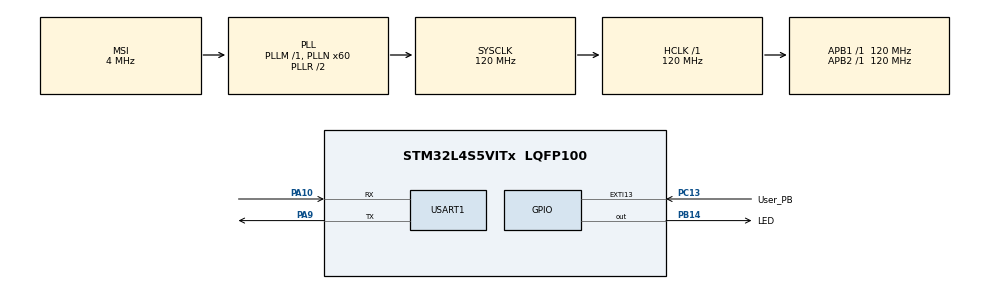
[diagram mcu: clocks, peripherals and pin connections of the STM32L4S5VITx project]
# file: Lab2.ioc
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ADC1.Channel-2\#ChannelRegularConversion=ADC_CHANNEL_VREFINT
ADC1.EnableInjectedConversion=ENABLE
ADC1.InjMonitoredBy-3\#ChannelInjectedConversion=__NULL
ADC1.InjNumberOfConversion=1
ADC1.InjectedChannel-3\#ChannelInjectedConversion=ADC_CHANNEL_TEMPSENSOR
ADC1.InjectedOffsetNumber-3\#ChannelInjectedConversion=ADC_OFFSET_NONE
ADC1.InjectedRank-3\#ChannelInjectedConversion=1
ADC1.InjectedSamplingTime-3\#ChannelInjectedConversion=ADC_SAMPLETIME_247CYCLES_5
ADC1.NbrOfConversionFlag=1
ADC1.OffsetNumber-2\#ChannelRegularConversion=ADC_OFFSET_NONE
ADC1.Rank-2\#ChannelRegularConversion=1
ADC1.Rank1_Channel=ADC_CHANNEL_TEMPSENSOR
ADC1.SamplingTime-2\#ChannelRegularConversion=ADC_SAMPLETIME_247CYCLES_5
ADC1.master=1
Mcu.Family=STM32L4
Mcu.Name=STM32L4S5VITx
Mcu.Package=LQFP100
NVIC.EXTI15_10_IRQn=true\:0\:0\:false\:false\:true\:true\:true\:true
NVIC.PriorityGroup=NVIC_PRIORITYGROUP_4
PA10.Mode=Asynchronous
PA10.Signal=USART1_RX
PA9.Mode=Asynchronous
PA9.Signal=USART1_TX
PB14.GPIO_Label=LED
PB14.Signal=GPIO_Output
PC0.Signal=ADCx_IN1
PC13.GPIO_Label=User_PB
PC13.Signal=GPXTI13
ProjectManager.HeapSize=0x200
ProjectManager.StackSize=0x400
ProjectManager.TargetToolchain=STM32CubeIDE
RCC.ADCFreq_Value=48000000
RCC.AHBFreq_Value=120000000
RCC.APB1Freq_Value=120000000
RCC.APB1TimFreq_Value=120000000
RCC.APB2Freq_Value=120000000
RCC.APB2TimFreq_Value=120000000
RCC.CortexFreq_Value=120000000
RCC.HCLKFreq_Value=120000000
RCC.HSE_VALUE=8000000
RCC.HSI48_VALUE=48000000
RCC.HSI_VALUE=16000000
RCC.LSE_VALUE=32768
RCC.MSI_VALUE=4000000
RCC.PLLN=60
RCC.PLLSAI1N=24
RCC.SYSCLKFreq_VALUE=120000000
RCC.SYSCLKSource=RCC_SYSCLKSOURCE_PLLCLK
RCC.USBFreq_Value=48000000
RCC.VCOOutputFreq_Value=240000000
SH.ADCx_IN1.0=ADC1_IN1
USART1.VirtualMode-Asynchronous=VM_ASYNC
VP_ADC1_TempSens_Input.Mode=IN-TempSens
VP_ADC1_Vref_Input.Mode=IN-Vrefint
board=B-L4S5I-IOT01A

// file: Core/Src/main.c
/* USER CODE BEGIN Header */
/**
  ******************************************************************************
  * @file           : main.c
  * @brief          : Main program body
  ******************************************************************************
  * @attention
  *
  * Copyright (c) 2025 STMicroelectronics.
  * All rights reserved.
  *
  * This software is licensed under terms that can be found in the LICENSE file
  * in the root directory of this software component.
  * If no LICENSE file comes with this software, it is provided AS-IS.
  *
  ******************************************************************************
  */
/* USER CODE END Header */
#include "main.h"

/* USER CODE BEGIN Includes */
#include <stdio.h>
#include "core_cm4.h"
#include "measurement.h"

/* USER CODE END Includes */

ADC_HandleTypeDef hadc1;

UART_HandleTypeDef huart1;

/* USER CODE BEGIN PV */
volatile uint8_t state;
/* USER CODE END PV */

void SystemClock_Config(void);
static void MX_GPIO_Init(void);
static void MX_ADC1_Init(void);
static void MX_USART1_UART_Init(void);

int main(void)
{

  /* MCU Configuration--------------------------------------------------------*/

  /* Reset of all peripherals, Initializes the Flash interface and the Systick. */
  HAL_Init();

  /* Configure the system clock */
  SystemClock_Config();

  /* Initialize all configured peripherals */
  MX_GPIO_Init();
  MX_ADC1_Init();
  MX_USART1_UART_Init();
  /* USER CODE BEGIN 2 */
  int8_t data[100];
  int8_t uartLen;
  float voltage, temperature;
  /* USER CODE END 2 */

  /* Infinite loop */
  /* USER CODE BEGIN WHILE */
  while (1)
  {
  	  switch (state){
  		  case 0:
  			  voltage = getVoltage(&hadc1);
  			  uartLen = sprintf(data, "The voltage is: %.2fV\n", voltage);
  			  for (int i = 0; i < uartLen; i++){
  				ITM_SendChar(data[i]);
  			  }
  			  break;

  		  case 1:
  			  temperature = getTemperature(&hadc1);
  			  uartLen = sprintf(data, "The temperature is: %.2f%cC\n", temperature, 176);
  			  for (int i = 0; i < uartLen; i++){
  				ITM_SendChar(data[i]);
  			  }
  			  break;

  		  default:
  			  uartLen = sprintf("The state is: %d\n", state);
  			  for (int i = 0; i < uartLen; i++){
  				ITM_SendChar(data[i]);
  			  }

  	  }
  	  HAL_Delay(1000);

    /* USER CODE END WHILE */

  }
}

void SystemClock_Config(void)
{
  RCC_OscInitTypeDef RCC_OscInitStruct = {0};
  RCC_ClkInitTypeDef RCC_ClkInitStruct = {0};

  /** Configure the main internal regulator output voltage
  */
  if (HAL_PWREx_ControlVoltageScaling(PWR_REGULATOR_VOLTAGE_SCALE1_BOOST) != HAL_OK)
  {
    Error_Handler();
  }

  /** Initializes the RCC Oscillators according to the specified parameters
  * in the RCC_OscInitTypeDef structure.
  */
  RCC_OscInitStruct.OscillatorType = RCC_OSCILLATORTYPE_MSI;
  RCC_OscInitStruct.MSIState = RCC_MSI_ON;
  RCC_OscInitStruct.MSICalibrationValue = 0;
  RCC_OscInitStruct.MSIClockRange = RCC_MSIRANGE_6;
  RCC_OscInitStruct.PLL.PLLState = RCC_PLL_ON;
  RCC_OscInitStruct.PLL.PLLSource = RCC_PLLSOURCE_MSI;
  RCC_OscInitStruct.PLL.PLLM = 1;
  RCC_OscInitStruct.PLL.PLLN = 60;
  RCC_OscInitStruct.PLL.PLLP = RCC_PLLP_DIV2;
  RCC_OscInitStruct.PLL.PLLQ = RCC_PLLQ_DIV2;
  RCC_OscInitStruct.PLL.PLLR = RCC_PLLR_DIV2;
  if (HAL_RCC_OscConfig(&RCC_OscInitStruct) != HAL_OK)
  {
    Error_Handler();
  }

  /** Initializes the CPU, AHB and APB buses clocks
  */
  RCC_ClkInitStruct.ClockType = RCC_CLOCKTYPE_HCLK|RCC_CLOCKTYPE_SYSCLK
                              |RCC_CLOCKTYPE_PCLK1|RCC_CLOCKTYPE_PCLK2;
  RCC_ClkInitStruct.SYSCLKSource = RCC_SYSCLKSOURCE_PLLCLK;
  RCC_ClkInitStruct.AHBCLKDivider = RCC_SYSCLK_DIV1;
  RCC_ClkInitStruct.APB1CLKDivider = RCC_HCLK_DIV1;
  RCC_ClkInitStruct.APB2CLKDivider = RCC_HCLK_DIV1;

  if (HAL_RCC_ClockConfig(&RCC_ClkInitStruct, FLASH_LATENCY_5) != HAL_OK)
  {
    Error_Handler();
  }
}

static void MX_ADC1_Init(void)
{

  ADC_ChannelConfTypeDef sConfig = {0};
  ADC_InjectionConfTypeDef sConfigInjected = {0};

  /** Common config
  */
  hadc1.Instance = ADC1;
  hadc1.Init.ClockPrescaler = ADC_CLOCK_ASYNC_DIV1;
  hadc1.Init.Resolution = ADC_RESOLUTION_12B;
  hadc1.Init.DataAlign = ADC_DATAALIGN_RIGHT;
  hadc1.Init.ScanConvMode = ADC_SCAN_DISABLE;
  hadc1.Init.EOCSelection = ADC_EOC_SINGLE_CONV;
  hadc1.Init.LowPowerAutoWait = DISABLE;
  hadc1.Init.ContinuousConvMode = DISABLE;
  hadc1.Init.NbrOfConversion = 1;
  hadc1.Init.DiscontinuousConvMode = DISABLE;
  hadc1.Init.ExternalTrigConv = ADC_SOFTWARE_START;
  hadc1.Init.ExternalTrigConvEdge = ADC_EXTERNALTRIGCONVEDGE_NONE;
  hadc1.Init.DMAContinuousRequests = DISABLE;
  hadc1.Init.Overrun = ADC_OVR_DATA_PRESERVED;
  hadc1.Init.OversamplingMode = DISABLE;
  if (HAL_ADC_Init(&hadc1) != HAL_OK)
  {
    Error_Handler();
  }

  /** Disable Injected Queue
  */
  HAL_ADCEx_DisableInjectedQueue(&hadc1);

  /** Configure Regular Channel
  */
  sConfig.Channel = ADC_CHANNEL_VREFINT;
  sConfig.Rank = ADC_REGULAR_RANK_1;
  sConfig.SamplingTime = ADC_SAMPLETIME_247CYCLES_5;
  sConfig.SingleDiff = ADC_SINGLE_ENDED;
  sConfig.OffsetNumber = ADC_OFFSET_NONE;
  sConfig.Offset = 0;
  if (HAL_ADC_ConfigChannel(&hadc1, &sConfig) != HAL_OK)
  {
    Error_Handler();
  }

  /** Configure Injected Channel
  */
  sConfigInjected.InjectedChannel = ADC_CHANNEL_TEMPSENSOR;
  sConfigInjected.InjectedRank = ADC_INJECTED_RANK_1;
  sConfigInjected.InjectedSamplingTime = ADC_SAMPLETIME_247CYCLES_5;
  sConfigInjected.InjectedSingleDiff = ADC_SINGLE_ENDED;
  sConfigInjected.InjectedOffsetNumber = ADC_OFFSET_NONE;
  sConfigInjected.InjectedOffset = 0;
  sConfigInjected.InjectedNbrOfConversion = 1;
  sConfigInjected.InjectedDiscontinuousConvMode = DISABLE;
  sConfigInjected.AutoInjectedConv = DISABLE;
  sConfigInjected.QueueInjectedContext = DISABLE;
  sConfigInjected.ExternalTrigInjecConv = ADC_INJECTED_SOFTWARE_START;
  sConfigInjected.ExternalTrigInjecConvEdge = ADC_EXTERNALTRIGINJECCONV_EDGE_NONE;
  sConfigInjected.InjecOversamplingMode = DISABLE;
  if (HAL_ADCEx_InjectedConfigChannel(&hadc1, &sConfigInjected) != HAL_OK)
  {
    Error_Handler();
  }

}

static void MX_USART1_UART_Init(void)
{

  huart1.Instance = USART1;
  huart1.Init.BaudRate = 115200;
  huart1.Init.WordLength = UART_WORDLENGTH_8B;
  huart1.Init.StopBits = UART_STOPBITS_1;
  huart1.Init.Parity = UART_PARITY_NONE;
  huart1.Init.Mode = UART_MODE_TX_RX;
  huart1.Init.HwFlowCtl = UART_HWCONTROL_NONE;
  huart1.Init.OverSampling = UART_OVERSAMPLING_16;
  huart1.Init.OneBitSampling = UART_ONE_BIT_SAMPLE_DISABLE;
  huart1.Init.ClockPrescaler = UART_PRESCALER_DIV1;
  huart1.AdvancedInit.AdvFeatureInit = UART_ADVFEATURE_NO_INIT;
  if (HAL_UART_Init(&huart1) != HAL_OK)
  {
    Error_Handler();
  }
  if (HAL_UARTEx_SetTxFifoThreshold(&huart1, UART_TXFIFO_THRESHOLD_1_8) != HAL_OK)
  {
    Error_Handler();
  }
  if (HAL_UARTEx_SetRxFifoThreshold(&huart1, UART_RXFIFO_THRESHOLD_1_8) != HAL_OK)
  {
    Error_Handler();
  }
  if (HAL_UARTEx_DisableFifoMode(&huart1) != HAL_OK)
  {
    Error_Handler();
  }

}

static void MX_GPIO_Init(void)
{
  GPIO_InitTypeDef GPIO_InitStruct = {0};

  /* GPIO Ports Clock Enable */
  __HAL_RCC_GPIOC_CLK_ENABLE();
  __HAL_RCC_GPIOB_CLK_ENABLE();
  __HAL_RCC_GPIOA_CLK_ENABLE();

  /*Configure GPIO pin Output Level */
  HAL_GPIO_WritePin(LED_GPIO_Port, LED_Pin, GPIO_PIN_RESET);

  /*Configure GPIO pin : User_PB_Pin */
  GPIO_InitStruct.Pin = User_PB_Pin;
  GPIO_InitStruct.Mode = GPIO_MODE_IT_RISING;
  GPIO_InitStruct.Pull = GPIO_NOPULL;
  HAL_GPIO_Init(User_PB_GPIO_Port, &GPIO_InitStruct);

  /*Configure GPIO pin : LED_Pin */
  GPIO_InitStruct.Pin = LED_Pin;
  GPIO_InitStruct.Mode = GPIO_MODE_OUTPUT_PP;
  GPIO_InitStruct.Pull = GPIO_NOPULL;
  GPIO_InitStruct.Speed = GPIO_SPEED_FREQ_LOW;
  HAL_GPIO_Init(LED_GPIO_Port, &GPIO_InitStruct);

  /* EXTI interrupt init*/
  HAL_NVIC_SetPriority(EXTI15_10_IRQn, 0, 0);
  HAL_NVIC_EnableIRQ(EXTI15_10_IRQn);

}

/* USER CODE BEGIN 4 */
void HAL_GPIO_EXTI_Callback(uint16_t GPIO_Pin)
{
  if(GPIO_Pin == User_PB_Pin) {
	// INTERRUPT: When User_PB pressed, XOR changes the state
	// from voltage <-> temperature.
	state ^= 1;
	// GPIO_PIN_14 is the LED which changes based on whether the
	// temperature or the voltage is being measured.
    HAL_GPIO_TogglePin(GPIOB, GPIO_PIN_14);
//    HAL_Delay(1000);
  } else {
      __NOP();
  }
}

/* USER CODE END 4 */

void Error_Handler(void)
{
  __disable_irq();
  while (1)
  {
  }
}
